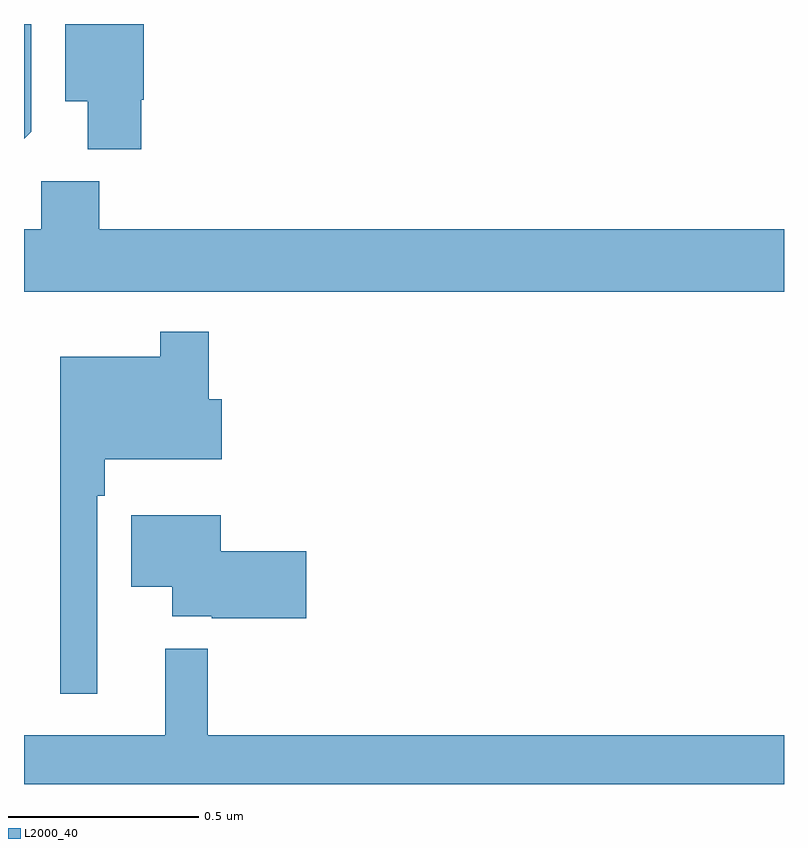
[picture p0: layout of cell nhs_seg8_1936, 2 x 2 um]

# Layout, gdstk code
import gdstk
lib = gdstk.Library(unit=1e-6, precision=1e-09)
def P(c, l, *ps):  # polygons
    for p in ps: c.add(gdstk.Polygon(p, *l))
L2000_40 = (2000, 40)

nhs_seg8_1936 = lib.new_cell('nhs_seg8_1936')
P(nhs_seg8_1936, L2000_40, [(137.019,1087.617),(137.019,1087.9),(137,1087.9),(137,1087.598)],
  [(137.309,1087.701),(137.315,1087.701),(137.315,1087.9),(137.108,1087.9),(137.108,1087.697),(137.168,1087.697),(137.168,1087.571),(137.309,1087.571)],
  [(139,1087.36),(137.198,1087.36),(137.198,1087.486),(137.046,1087.486),(137.046,1087.36),(137,1087.36),(137,1087.196),(139,1087.196)],
  [(137.193,1086.659),(137.213,1086.659),(137.213,1086.755),(137.521,1086.755),(137.521,1086.913),(137.486,1086.913),(137.486,1087.09),(137.358,1087.09),(137.358,1087.024),(137.096,1087.024),(137.096,1086.138),(137.193,1086.138)],
  [(137.743,1086.512),(137.518,1086.512),(137.518,1086.607),(137.282,1086.607),(137.282,1086.419),(137.39,1086.419),(137.39,1086.341),(137.494,1086.341),(137.494,1086.336),(137.743,1086.336)],
  [(139,1086.028),(137.484,1086.028),(137.484,1086.256),(137.372,1086.256),(137.372,1086.028),(137,1086.028),(137,1085.9),(139,1085.9)])

lib.write_gds('nhs_seg8_1936.gds')
